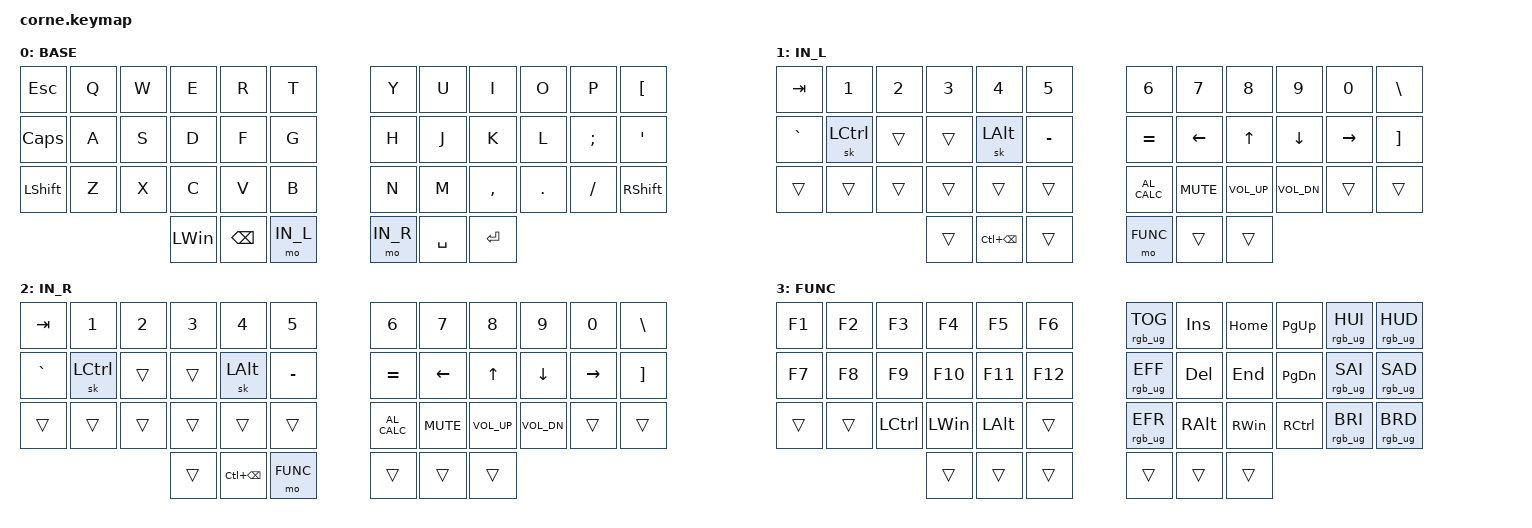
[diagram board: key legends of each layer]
/*
 * Copyright (c) 2020 The ZMK Contributors
 *
 * SPDX-License-Identifier: MIT
 */

#include <behaviors.dtsi>
#include <dt-bindings/zmk/keys.h>
#include <dt-bindings/zmk/rgb.h>

#define BASE 0
#define IN_L 1
#define IN_R 2
#define FUNC 3

&led_strip {
    chain-length = <21>;
};

&sk {
        release-after-ms = <3000>;
        /delete-property/ ignore-modifiers;
};

&kscan0 {
    debounce-press-ms = <10>;
};

/ {
    chosen {
        zmk,kscan = &kscan0;
    };

    kscan0: kscan {
        compatible = "zmk,kscan-gpio-matrix";
    };
};

/ {
        keymap {
                compatible = "zmk,keymap";
                BASE {
                        bindings = <
   &kp ESC   &kp Q        &kp W     &kp E    &kp R    &kp T          &kp Y         &kp U      &kp I        &kp O        &kp P     &kp LBKT
   &kp CAPS  &kp A        &kp S     &kp D    &kp F    &kp G          &kp H         &kp J      &kp K        &kp L        &kp SEMI  &kp SQT
   &kp LSHFT &kp Z        &kp X     &kp C    &kp V    &kp B          &kp N         &kp M      &kp COMMA    &kp DOT      &kp FSLH  &kp RSHFT
   &kp LWIN  &kp BSPC     &mo IN_L                                   &mo IN_R      &kp SPACE  &kp RET
                        >;
                };
                IN_L {
                        bindings = <
   &kp TAB   &kp N1       &kp N2    &kp N3   &kp N4   &kp N5         &kp N6        &kp N7     &kp N8       &kp N9       &kp N0    &kp BSLH
   &kp GRAVE &sk LCTRL    &trans    &trans   &sk LALT &kp MINUS      &kp EQUAL     &kp LEFT   &kp UP       &kp DOWN     &kp RIGHT &kp RBKT
   &trans    &trans       &trans    &trans   &trans   &trans         &kp C_AL_CALC &kp C_MUTE &kp C_VOL_UP &kp C_VOL_DN &trans    &trans
   &trans    &kp LC(BSPC) &trans                                     &mo FUNC      &trans     &trans
                        >;
                };
                IN_R {
                        bindings = <
   &kp TAB   &kp N1       &kp N2    &kp N3   &kp N4   &kp N5         &kp N6        &kp N7     &kp N8       &kp N9       &kp N0    &kp BSLH
   &kp GRAVE &sk LCTRL    &trans    &trans   &sk LALT &kp MINUS      &kp EQUAL     &kp LEFT   &kp UP       &kp DOWN     &kp RIGHT &kp RBKT
   &trans    &trans       &trans    &trans   &trans   &trans         &kp C_AL_CALC &kp C_MUTE &kp C_VOL_UP &kp C_VOL_DN &trans    &trans
   &trans    &kp LC(BSPC) &mo FUNC                                   &trans        &trans     &trans
                        >;
                };
                FUNC {
                        bindings = <
   &kp F1    &kp F2       &kp F3    &kp F4   &kp F5   &kp F6         &rgb_ug RGB_TOG &kp INS    &kp HOME     &kp PG_UP    &rgb_ug RGB_HUI &rgb_ug RGB_HUD
   &kp F7    &kp F8       &kp F9    &kp F10  &kp F11  &kp F12        &rgb_ug RGB_EFF &kp DEL    &kp END      &kp PG_DN    &rgb_ug RGB_SAI &rgb_ug RGB_SAD
   &trans    &trans       &kp LCTRL &kp LWIN &kp LALT &trans         &rgb_ug RGB_EFR &kp RALT   &kp RWIN     &kp RCTRL    &rgb_ug RGB_BRI &rgb_ug RGB_BRD
   &trans    &trans       &trans                                     &trans          &trans     &trans
                        >;
                };
        };
};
